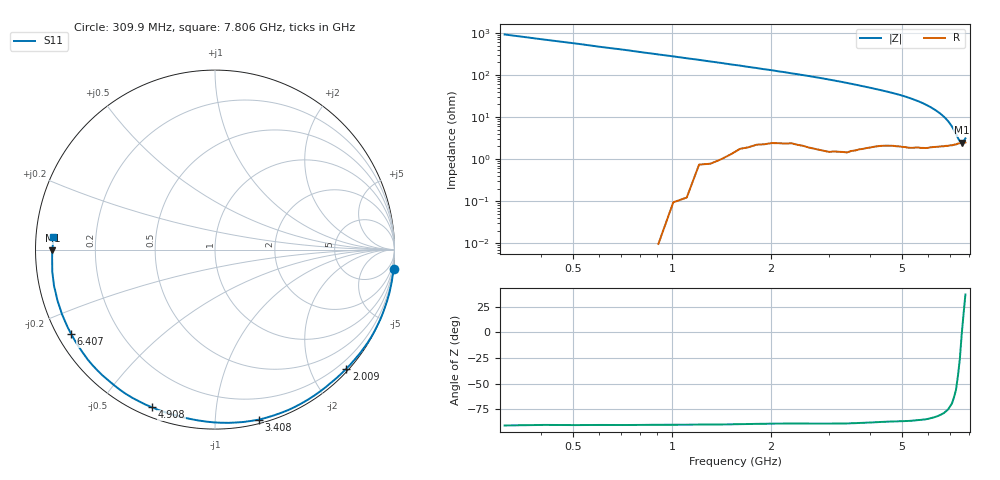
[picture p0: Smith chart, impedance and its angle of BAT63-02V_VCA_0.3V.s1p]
! Infineon Technologies  Discrete & RF Semiconductors
! BAT63-02V
! VCA = 0.3 V
! One-Port S-Parameters
# Hz  S  MA  R  50
!f  S11
!Hz  Mag  Ang
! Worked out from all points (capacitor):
!   76 points, 309.9 MHz to 7.806 GHz, reference 50 ohm
!   read as one part to ground: C = 560 fF near 309.9 MHz
!   lowest |Z| = 2.46 ohm at 7.606 GHz (marker M1)
!   series resonance near 7.616 GHz, so ESL is about 780 pH
!   S11 on the Smith chart (normalised r, x): 309.9 MHz: -0, -18; 2.009 GHz: 0.05, -2.60; 3.408 GHz: 0.03, -1.29; 4.908 GHz: 0.04, -0.68; 6.407 GHz: 0.04, -0.27; 7.806 GHz: 0.05, +0.04
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3.0985e8  1.001 -6.3
8.096e8  1.001 -16.4
1.10945e9  0.9998 -22.7
1.30935e9  0.9983 -26.9
1.6092e9  0.9942 -33.4
1.90905e9  0.9894 -40.2
2.009e9  0.9876 -42.1
2.2089e9  0.9854 -46.6
2.70865e9  0.9833 -58.3
3.0085e9  0.9827 -65.5
3.2084e9  0.9802 -70.5
3.4083e9  0.9786 -75.5
3.8081e9  0.9681 -85.6
4.10795e9  0.9595 -92.9
4.50775e9  0.9505 -102.3
4.90755e9  0.9462 -111.7
5.0075e9  0.9463 -114.1
5.2074e9  0.9455 -119.0
5.4073e9  0.9436 -124.1
5.8071e9  0.9391 -134.2
6.007e9  0.9369 -139.3
6.4068e9  0.9292 -149.6
6.70665e9  0.9253 -157.1
6.90655e9  0.9225 -162.2
7.10645e9  0.9195 -167.2
7.30635e9  0.9149 -172.4
7.6062e9  0.9062 -179.8
7.8061e9  0.9053 175.7
